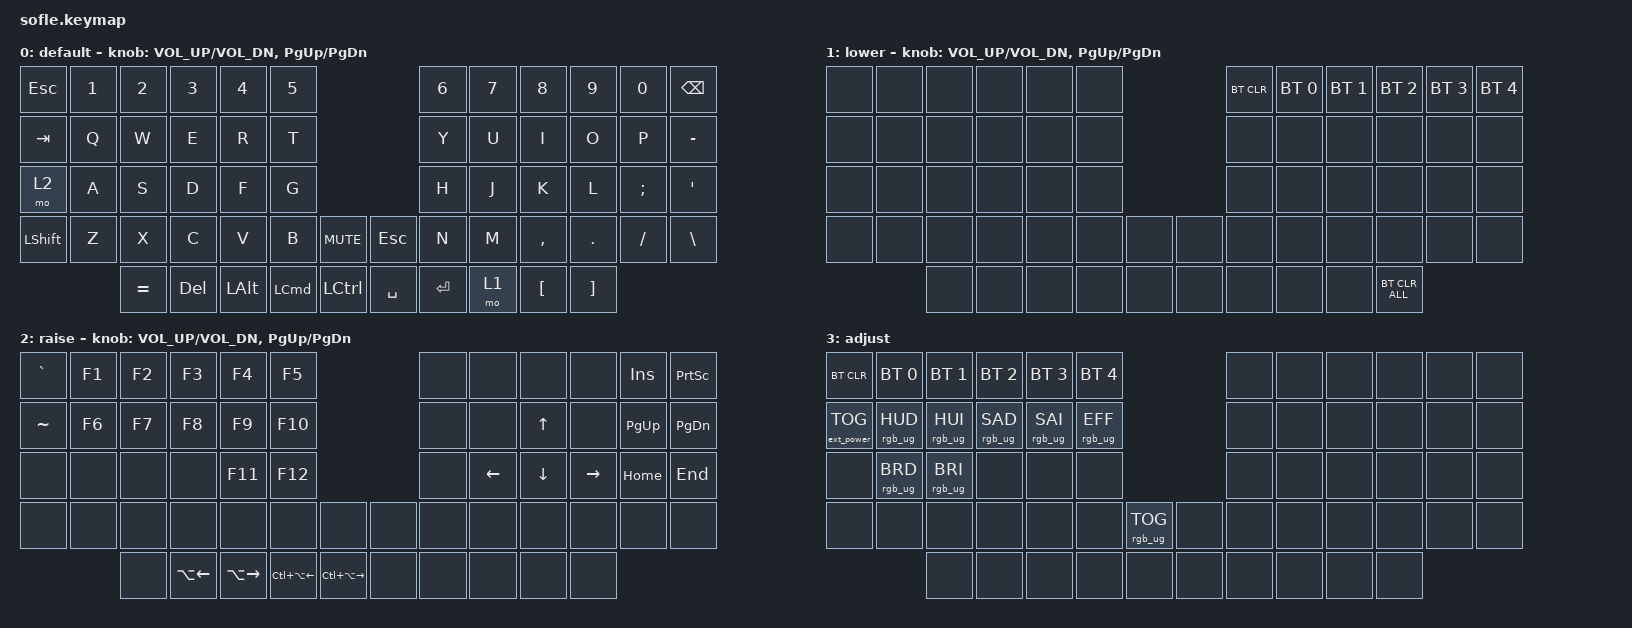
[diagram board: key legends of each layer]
/*
 * Copyright (c) 2020 The ZMK Contributors
 *
 * SPDX-License-Identifier: MIT
 */

#include <behaviors.dtsi>
#include <dt-bindings/zmk/bt.h>
#include <dt-bindings/zmk/ext_power.h>
#include <dt-bindings/zmk/keys.h>
#include <dt-bindings/zmk/rgb.h>

#define BASE 0
#define LOWER 1
#define RAISE 2
#define ADJUST 3

/ {
    // Activate ADJUST layer by pressing raise and lower

    conditional_layers {
        compatible = "zmk,conditional-layers";

        adjust_layer {
            if-layers = <1 2>;
            then-layer = <3>;
        };
    };

    combos { compatible = "zmk,combos"; };

    keymap {
        compatible = "zmk,keymap";

        default_layer {
            label = "default";

            // ------------------------------------------------------------------------------------------------------------
            // |   `   |  1  |  2  |  3   |  4   |  5   |                   |  6   |  7    |  8    |  9   |   0   |       |
            // |  ESC  |  Q  |  W  |  E   |  R   |  T   |                   |  Y   |  U    |  I    |  O   |   P   | BKSPC |
            // |  TAB  |  A  |  S  |  D   |  F   |  G   |                   |  H   |  J    |  K    |  L   |   ;   |   '   |
            // | SHIFT |  Z  |  X  |  C   |  V   |  B   |  MUTE  |  |       |  N   |  M    |  ,    |  .   |   /   | SHIFT |
            //               | GUI | ALT  | CTRL | LOWER|  ENTER |  | SPACE | RAISE| CTRL  | ALT   | GUI  |

            bindings = <
&kp ESCAPE      &kp N1  &kp N2     &kp N3      &kp N4        &kp N5                                           &kp N6     &kp N7  &kp N8            &kp N9             &kp N0    &kp BACKSPACE
&kp TAB         &kp Q   &kp W      &kp E       &kp R         &kp T                                            &kp Y      &kp U   &kp I             &kp O              &kp P     &kp MINUS
&mo 2           &kp A   &kp S      &kp D       &kp F         &kp G                                            &kp H      &kp J   &kp K             &kp L              &kp SEMI  &kp SQT
&kp LEFT_SHIFT  &kp Z   &kp X      &kp C       &kp V         &kp B             &kp C_MUTE          &kp ESC    &kp N      &kp M   &kp COMMA         &kp DOT            &kp FSLH  &kp BSLH
                        &kp EQUAL  &kp DELETE  &kp LEFT_ALT  &kp LEFT_COMMAND  &kp LEFT_CONTROL    &kp SPACE  &kp ENTER  &mo 1   &kp LEFT_BRACKET  &kp RIGHT_BRACKET
            >;

            sensor-bindings = <&inc_dec_kp C_VOL_UP C_VOL_DN &inc_dec_kp PG_UP PG_DN>;
        };

        lower_layer {
            label = "lower";

            // TODO: Some binds are waiting for shifted keycode support.
            // ------------------------------------------------------------------------------------------------------------
            // |       |  F1 |  F2 |  F3  |  F4  |  F5  |                   |  F6  |  F7   |  F8   |  F9  |  F10  |  F11  |
            // |   `   |  1  |  2  |  3   |  4   |  5   |                   |  6   |  7    |  8    |  9   |   0   |  F12  |
            // |       |  !  |  @  |  #   |  $   |  %   |                   |  ^   |  &    |  *    |  (   |   )   |   |   |
            // |       |  =  |  -  |  +   |  {   |  }   |        |  |       |  [   |  ]    |  ;    |  :   |   \   |       |
            //               |     |      |      |      |        |  |       |      |       |       |      |

            bindings = <
&none  &none  &none  &none  &none  &none                  &bt BT_CLR  &bt BT_SEL 0  &bt BT_SEL 1  &bt BT_SEL 2    &bt BT_SEL 3  &bt BT_SEL 4
&none  &none  &none  &none  &none  &none                  &none       &none         &none         &none           &none         &none
&none  &none  &none  &none  &none  &none                  &none       &none         &none         &none           &none         &none
&none  &none  &none  &none  &none  &none  &none    &none  &none       &none         &none         &none           &none         &none
              &none  &none  &none  &none  &none    &none  &none       &none         &none         &bt BT_CLR_ALL
            >;

            sensor-bindings = <&inc_dec_kp C_VOL_UP C_VOL_DN &inc_dec_kp PG_UP PG_DN>;
        };

        raise_layer {
            label = "raise";

            // ------------------------------------------------------------------------------------------------------------
            // | BTCLR | BT1  | BT2  |  BT3  |  BT4  |  BT5 |                |      |      |       |      |       |       |
            // |       | INS  | PSCR | GUI   |       |      |                | PGUP |      |   ^   |      |       |       |
            // |       | ALT  | CTRL | SHIFT |       | CAPS |                | PGDN |   <- |   v   |  ->  |  DEL  | BKSPC |
            // |       | UNDO | CUT  | COPY  | PASTE |      |      |  |      |      |      |       |      |       |       |
            //                |      |       |       |      |      |  |      |      |      |       |      |

            bindings = <
&kp GRAVE  &kp F1  &kp F2  &kp F3        &kp F4         &kp F5                                        &none  &none     &none     &none      &kp INSERT   &kp PRINTSCREEN
&kp TILDE  &kp F6  &kp F7  &kp F8        &kp F9         &kp F10                                       &none  &none     &kp UP    &none      &kp PAGE_UP  &kp PAGE_DOWN
&none      &none   &none   &none         &kp F11        &kp F12                                       &none  &kp LEFT  &kp DOWN  &kp RIGHT  &kp HOME     &kp END
&none      &none   &none   &none         &none          &none             &none                &none  &none  &none     &none     &none      &none        &none
                   &none   &kp LA(LEFT)  &kp LA(RIGHT)  &kp LC(LA(LEFT))  &kp LC(LA(RIGHT))    &none  &none  &none     &none     &none
            >;

            sensor-bindings = <&inc_dec_kp C_VOL_UP C_VOL_DN &inc_dec_kp PG_UP PG_DN>;
        };

        modify_layer {
            // ----------------------------------------------------------------------------------------------------------------------------
            // | BTCLR  |  BT1    |  BT2    |   BT3   |   BT4   |   BT5   |                  |      |      |       |      |       |       |
            // | EXTPWR | RGB_HUD | RGB_HUI | RGB_SAD | RGB_SAI | RGB_EFF |                  |      |      |       |      |       |       |
            // |        | RGB_BRD | RGB_BRI |         |         |         |                  |      |      |       |      |       |       |
            // |        |         |         |         |         |         | RGB_TOG | |      |      |      |       |      |       |       |
            //                    |         |         |         |         |         | |      |      |      |       |      |

            label = "adjust";
            bindings = <
&bt BT_CLR         &bt BT_SEL 0     &bt BT_SEL 1     &bt BT_SEL 2     &bt BT_SEL 3     &bt BT_SEL 4                               &none  &none  &none  &none  &none  &none
&ext_power EP_TOG  &rgb_ug RGB_HUD  &rgb_ug RGB_HUI  &rgb_ug RGB_SAD  &rgb_ug RGB_SAI  &rgb_ug RGB_EFF                            &none  &none  &none  &none  &none  &none
&none              &rgb_ug RGB_BRD  &rgb_ug RGB_BRI  &none            &none            &none                                      &none  &none  &none  &none  &none  &none
&none              &none            &none            &none            &none            &none            &rgb_ug RGB_TOG    &none  &none  &none  &none  &none  &none  &none
                                    &none            &none            &none            &none            &none              &none  &none  &none  &none  &none
            >;
        };
    };
};
